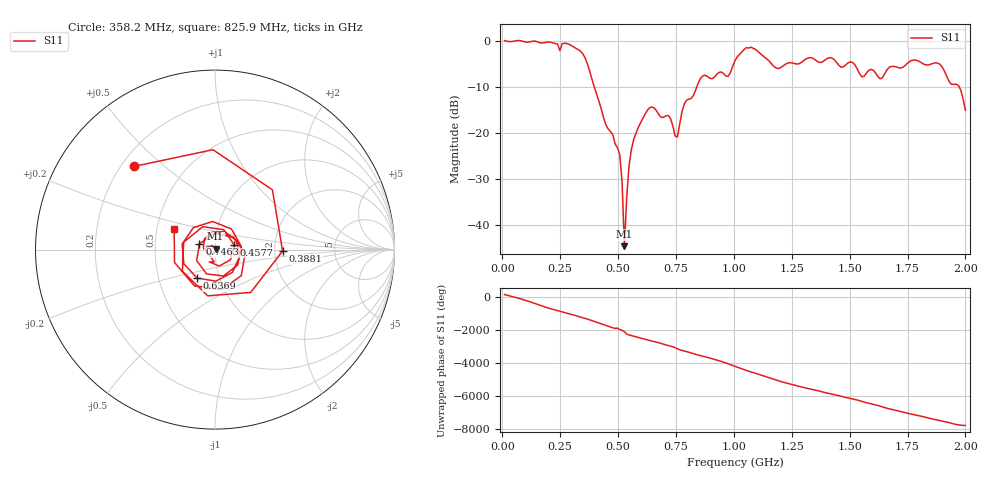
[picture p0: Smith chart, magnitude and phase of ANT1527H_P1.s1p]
!Created with skrf (http://scikit-rf.org).
# Hz S RI R 50.0
!freq ReS11 ImS11
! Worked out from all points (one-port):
!   201 points, 10 MHz to 2 GHz, reference 50 ohm
!   lowest |S11| = -44.7 dB at 527.4 MHz (marker M1), VSWR 1.01, Z = 50.3 + j0.477 ohm
!   |S11| at or under -10 dB: 397.1 MHz to 840.2 MHz (443.1 MHz wide, 71.6 % of centre); 1.973 GHz to end of sweep
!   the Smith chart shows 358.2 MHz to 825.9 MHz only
!   S11 on the Smith chart (normalised r, x): 358.2 MHz: 0.25, +0.40; 388.1 MHz: 2.21, -0.04; 457.8 MHz: 1.23, +0.07; 636.9 MHz: 0.78, -0.26; 746.3 MHz: 0.84, +0.05; 825.9 MHz: 0.61, +0.15
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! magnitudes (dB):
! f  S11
! 10 MHz  0.1
! 258.8 MHz  -0.6
! 358.2 MHz  -3.8
! 388.1 MHz  -8.5
! 457.8 MHz  -19.2
! 507.5 MHz  -24.8
! 517.5 MHz  -30.9
! 527.4 MHz  -44.7
! 537.4 MHz  -34.1
! 557.2 MHz  -23.7
! 636.9 MHz  -14.5
! 716.5 MHz  -16.2
! 746.3 MHz  -20.7
! 756.2 MHz  -20.9
! 786.1 MHz  -13.7
! 825.9 MHz  -11.8
! 865.7 MHz  -7.6
! 975.1 MHz  -7.7
! 1.005 GHz  -4.3
! 1.075 GHz  -1.4
! 1.184 GHz  -6.0
! 1.254 GHz  -4.8
! 1.502 GHz  -4.6
! 1.632 GHz  -8.3
! 1.751 GHz  -4.8
! 1.891 GHz  -5.1
! 1.97 GHz  -9.7
! 2 GHz  -15.1
